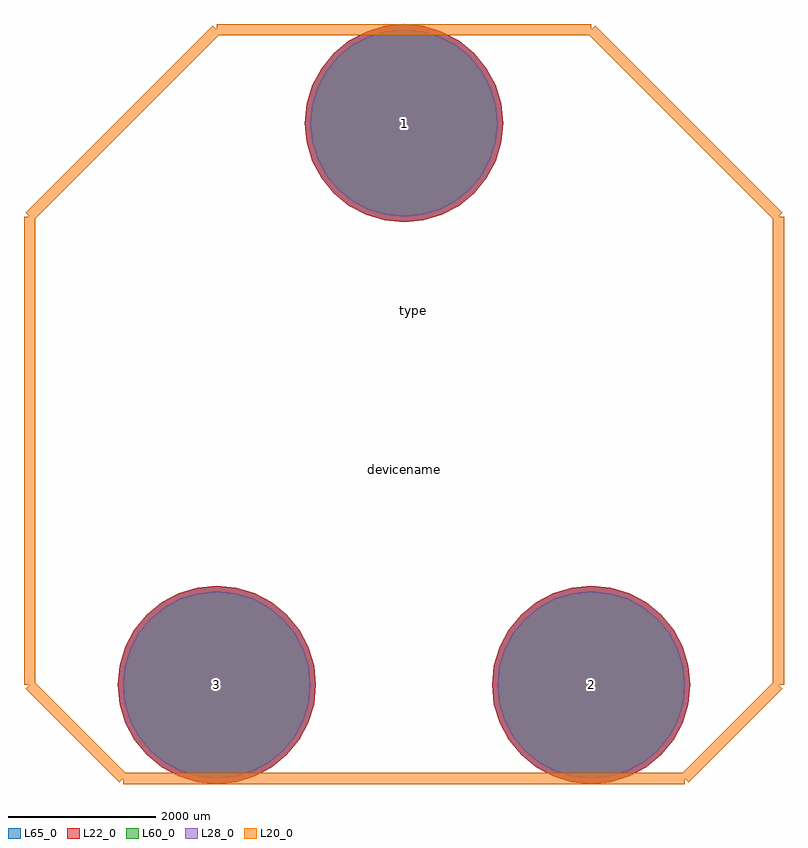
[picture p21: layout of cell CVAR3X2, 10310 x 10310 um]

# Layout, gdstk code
import gdstk
lib = gdstk.Library(unit=1e-6, precision=1e-09)
def P(c, l, *ps):  # polygons
    for p in ps: c.add(gdstk.Polygon(p, *l))
L20_0 = (20, 0)
L22_0 = (22, 0)
L28_0 = (28, 0)
L60_0 = (60, 0)
L65_0 = (65, 0)

cvar3x2 = lib.new_cell('CVAR3X2')
P(cvar3x2, L22_0, [(-1195,-3810),(-1220.844,-3547.604),(-1297.382,-3295.291),(-1421.673,-3062.758),(-1588.941,-2858.941),(-1792.758,-2691.673),(-2025.291,-2567.382),(-2277.604,-2490.844),(-2540,-2465),(-2802.396,-2490.844),(-3054.709,-2567.382),(-3287.242,-2691.673),(-3491.059,-2858.941),(-3658.327,-3062.758),(-3782.618,-3295.291),(-3859.156,-3547.604),(-3885,-3810),(-3859.156,-4072.396),(-3782.618,-4324.709),(-3658.327,-4557.242),(-3491.059,-4761.059),(-3287.242,-4928.327),(-3054.709,-5052.618),(-2802.396,-5129.156),(-2540,-5155),(-2277.604,-5129.156),(-2025.291,-5052.618),(-1792.758,-4928.327),(-1588.941,-4761.059),(-1421.673,-4557.242),(-1297.382,-4324.709),(-1220.844,-4072.396)],
  [(3885,-3810),(3859.156,-3547.604),(3782.618,-3295.291),(3658.327,-3062.758),(3491.059,-2858.941),(3287.242,-2691.673),(3054.709,-2567.382),(2802.396,-2490.844),(2540,-2465),(2277.604,-2490.844),(2025.291,-2567.382),(1792.758,-2691.673),(1588.941,-2858.941),(1421.673,-3062.758),(1297.382,-3295.291),(1220.844,-3547.604),(1195,-3810),(1220.844,-4072.396),(1297.382,-4324.709),(1421.673,-4557.242),(1588.941,-4761.059),(1792.758,-4928.327),(2025.291,-5052.618),(2277.604,-5129.156),(2540,-5155),(2802.396,-5129.156),(3054.709,-5052.618),(3287.242,-4928.327),(3491.059,-4761.059),(3658.327,-4557.242),(3782.618,-4324.709),(3859.156,-4072.396)],
  [(1345,3810),(1319.156,4072.396),(1242.618,4324.709),(1118.327,4557.242),(951.059,4761.059),(747.242,4928.327),(514.709,5052.618),(262.396,5129.156),(0,5155),(-262.396,5129.156),(-514.709,5052.618),(-747.242,4928.327),(-951.059,4761.059),(-1118.327,4557.242),(-1242.618,4324.709),(-1319.156,4072.396),(-1345,3810),(-1319.156,3547.604),(-1242.618,3295.291),(-1118.327,3062.758),(-951.059,2858.941),(-747.242,2691.673),(-514.709,2567.382),(-262.396,2490.844),(0,2465),(262.396,2490.844),(514.709,2567.382),(747.242,2691.673),(951.059,2858.941),(1118.327,3062.758),(1242.618,3295.291),(1319.156,3547.604)])
P(cvar3x2, L28_0, [(-1270,-3810),(-1294.403,-3562.235),(-1366.673,-3323.992),(-1484.034,-3104.426),(-1641.974,-2911.974),(-1834.426,-2754.034),(-2053.992,-2636.673),(-2292.235,-2564.403),(-2540,-2540),(-2787.765,-2564.403),(-3026.008,-2636.673),(-3245.574,-2754.034),(-3438.026,-2911.974),(-3595.966,-3104.426),(-3713.327,-3323.992),(-3785.597,-3562.235),(-3810,-3810),(-3785.597,-4057.765),(-3713.327,-4296.008),(-3595.966,-4515.574),(-3438.026,-4708.026),(-3245.574,-4865.966),(-3026.008,-4983.327),(-2787.765,-5055.597),(-2540,-5080),(-2292.235,-5055.597),(-2053.992,-4983.327),(-1834.426,-4865.966),(-1641.974,-4708.026),(-1484.034,-4515.574),(-1366.673,-4296.008),(-1294.403,-4057.765)],
  [(3810,-3810),(3785.597,-3562.235),(3713.327,-3323.992),(3595.966,-3104.426),(3438.026,-2911.974),(3245.574,-2754.034),(3026.008,-2636.673),(2787.765,-2564.403),(2540,-2540),(2292.235,-2564.403),(2053.992,-2636.673),(1834.426,-2754.034),(1641.974,-2911.974),(1484.034,-3104.426),(1366.673,-3323.992),(1294.403,-3562.235),(1270,-3810),(1294.403,-4057.765),(1366.673,-4296.008),(1484.034,-4515.574),(1641.974,-4708.026),(1834.426,-4865.966),(2053.992,-4983.327),(2292.235,-5055.597),(2540,-5080),(2787.765,-5055.597),(3026.008,-4983.327),(3245.574,-4865.966),(3438.026,-4708.026),(3595.966,-4515.574),(3713.327,-4296.008),(3785.597,-4057.765)],
  [(1270,3810),(1245.597,4057.765),(1173.327,4296.008),(1055.966,4515.574),(898.026,4708.026),(705.574,4865.966),(486.008,4983.327),(247.765,5055.597),(0,5080),(-247.765,5055.597),(-486.008,4983.327),(-705.574,4865.966),(-898.026,4708.026),(-1055.966,4515.574),(-1173.327,4296.008),(-1245.597,4057.765),(-1270,3810),(-1245.597,3562.235),(-1173.327,3323.992),(-1055.966,3104.426),(-898.026,2911.974),(-705.574,2754.034),(-486.008,2636.673),(-247.765,2564.403),(0,2540),(247.765,2564.403),(486.008,2636.673),(705.574,2754.034),(898.026,2911.974),(1055.966,3104.426),(1173.327,3323.992),(1245.597,3562.235)])
P(cvar3x2, L60_0, [(-1270,-3810),(-1294.403,-3562.235),(-1366.673,-3323.992),(-1484.034,-3104.426),(-1641.974,-2911.974),(-1834.426,-2754.034),(-2053.992,-2636.673),(-2292.235,-2564.403),(-2540,-2540),(-2787.765,-2564.403),(-3026.008,-2636.673),(-3245.574,-2754.034),(-3438.026,-2911.974),(-3595.966,-3104.426),(-3713.327,-3323.992),(-3785.597,-3562.235),(-3810,-3810),(-3785.597,-4057.765),(-3713.327,-4296.008),(-3595.966,-4515.574),(-3438.026,-4708.026),(-3245.574,-4865.966),(-3026.008,-4983.327),(-2787.765,-5055.597),(-2540,-5080),(-2292.235,-5055.597),(-2053.992,-4983.327),(-1834.426,-4865.966),(-1641.974,-4708.026),(-1484.034,-4515.574),(-1366.673,-4296.008),(-1294.403,-4057.765)],
  [(3810,-3810),(3785.597,-3562.235),(3713.327,-3323.992),(3595.966,-3104.426),(3438.026,-2911.974),(3245.574,-2754.034),(3026.008,-2636.673),(2787.765,-2564.403),(2540,-2540),(2292.235,-2564.403),(2053.992,-2636.673),(1834.426,-2754.034),(1641.974,-2911.974),(1484.034,-3104.426),(1366.673,-3323.992),(1294.403,-3562.235),(1270,-3810),(1294.403,-4057.765),(1366.673,-4296.008),(1484.034,-4515.574),(1641.974,-4708.026),(1834.426,-4865.966),(2053.992,-4983.327),(2292.235,-5055.597),(2540,-5080),(2787.765,-5055.597),(3026.008,-4983.327),(3245.574,-4865.966),(3438.026,-4708.026),(3595.966,-4515.574),(3713.327,-4296.008),(3785.597,-4057.765)],
  [(1270,3810),(1245.597,4057.765),(1173.327,4296.008),(1055.966,4515.574),(898.026,4708.026),(705.574,4865.966),(486.008,4983.327),(247.765,5055.597),(0,5080),(-247.765,5055.597),(-486.008,4983.327),(-705.574,4865.966),(-898.026,4708.026),(-1055.966,4515.574),(-1173.327,4296.008),(-1245.597,4057.765),(-1270,3810),(-1245.597,3562.235),(-1173.327,3323.992),(-1055.966,3104.426),(-898.026,2911.974),(-705.574,2754.034),(-486.008,2636.673),(-247.765,2564.403),(0,2540),(247.765,2564.403),(486.008,2636.673),(705.574,2754.034),(898.026,2911.974),(1055.966,3104.426),(1173.327,3323.992),(1245.597,3562.235)])
P(cvar3x2, L65_0, [(-1195,-3810),(-1220.844,-3547.604),(-1297.382,-3295.291),(-1421.673,-3062.758),(-1588.941,-2858.941),(-1792.758,-2691.673),(-2025.291,-2567.382),(-2277.604,-2490.844),(-2540,-2465),(-2802.396,-2490.844),(-3054.709,-2567.382),(-3287.242,-2691.673),(-3491.059,-2858.941),(-3658.327,-3062.758),(-3782.618,-3295.291),(-3859.156,-3547.604),(-3885,-3810),(-3859.156,-4072.396),(-3782.618,-4324.709),(-3658.327,-4557.242),(-3491.059,-4761.059),(-3287.242,-4928.327),(-3054.709,-5052.618),(-2802.396,-5129.156),(-2540,-5155),(-2277.604,-5129.156),(-2025.291,-5052.618),(-1792.758,-4928.327),(-1588.941,-4761.059),(-1421.673,-4557.242),(-1297.382,-4324.709),(-1220.844,-4072.396)],
  [(3885,-3810),(3859.156,-3547.604),(3782.618,-3295.291),(3658.327,-3062.758),(3491.059,-2858.941),(3287.242,-2691.673),(3054.709,-2567.382),(2802.396,-2490.844),(2540,-2465),(2277.604,-2490.844),(2025.291,-2567.382),(1792.758,-2691.673),(1588.941,-2858.941),(1421.673,-3062.758),(1297.382,-3295.291),(1220.844,-3547.604),(1195,-3810),(1220.844,-4072.396),(1297.382,-4324.709),(1421.673,-4557.242),(1588.941,-4761.059),(1792.758,-4928.327),(2025.291,-5052.618),(2277.604,-5129.156),(2540,-5155),(2802.396,-5129.156),(3054.709,-5052.618),(3287.242,-4928.327),(3491.059,-4761.059),(3658.327,-4557.242),(3782.618,-4324.709),(3859.156,-4072.396)],
  [(1345,3810),(1319.156,4072.396),(1242.618,4324.709),(1118.327,4557.242),(951.059,4761.059),(747.242,4928.327),(514.709,5052.618),(262.396,5129.156),(0,5155),(-262.396,5129.156),(-514.709,5052.618),(-747.242,4928.327),(-951.059,4761.059),(-1118.327,4557.242),(-1242.618,4324.709),(-1319.156,4072.396),(-1345,3810),(-1319.156,3547.604),(-1242.618,3295.291),(-1118.327,3062.758),(-951.059,2858.941),(-747.242,2691.673),(-514.709,2567.382),(-262.396,2490.844),(0,2465),(262.396,2490.844),(514.709,2567.382),(747.242,2691.673),(951.059,2858.941),(1118.327,3062.758),(1242.618,3295.291),(1319.156,3547.604)])
cvar3x2.add(gdstk.FlexPath([(5080,2540),(2540,5080)], 149.998, ends="flush", simple_path=True, layer=20, datatype=0))  # L20_0
cvar3x2.add(gdstk.FlexPath([(5080,-3810),(5080,2540)], 149.998, ends="flush", simple_path=True, layer=20, datatype=0))  # L20_0
cvar3x2.add(gdstk.FlexPath([(3810,-5080),(5080,-3810)], 149.998, ends="flush", simple_path=True, layer=20, datatype=0))  # L20_0
cvar3x2.add(gdstk.FlexPath([(-3810,-5080),(3810,-5080)], 149.998, ends="flush", simple_path=True, layer=20, datatype=0))  # L20_0
cvar3x2.add(gdstk.FlexPath([(-5080,-3810),(-3810,-5080)], 149.998, ends="flush", simple_path=True, layer=20, datatype=0))  # L20_0
cvar3x2.add(gdstk.FlexPath([(-5080,2540),(-5080,-3810)], 149.998, ends="flush", simple_path=True, layer=20, datatype=0))  # L20_0
cvar3x2.add(gdstk.FlexPath([(-2540,5080),(-5080,2540)], 149.998, ends="flush", simple_path=True, layer=20, datatype=0))  # L20_0
cvar3x2.add(gdstk.FlexPath([(2540,5080),(-2540,5080)], 149.998, ends="flush", simple_path=True, layer=20, datatype=0))  # L20_0
cvar3x2.add(gdstk.Label('3', (-2540,-3810), layer=28, texttype=0))
cvar3x2.add(gdstk.Label('2', (2540,-3810), layer=28, texttype=0))
cvar3x2.add(gdstk.Label('1', (0,3810), layer=28, texttype=0))
cvar3x2.add(gdstk.Label('type', (127,1270), layer=9, texttype=0))
cvar3x2.add(gdstk.Label('devicename', (0,-889), layer=9, texttype=0))

lib.write_gds('CVAR3X2.gds')
